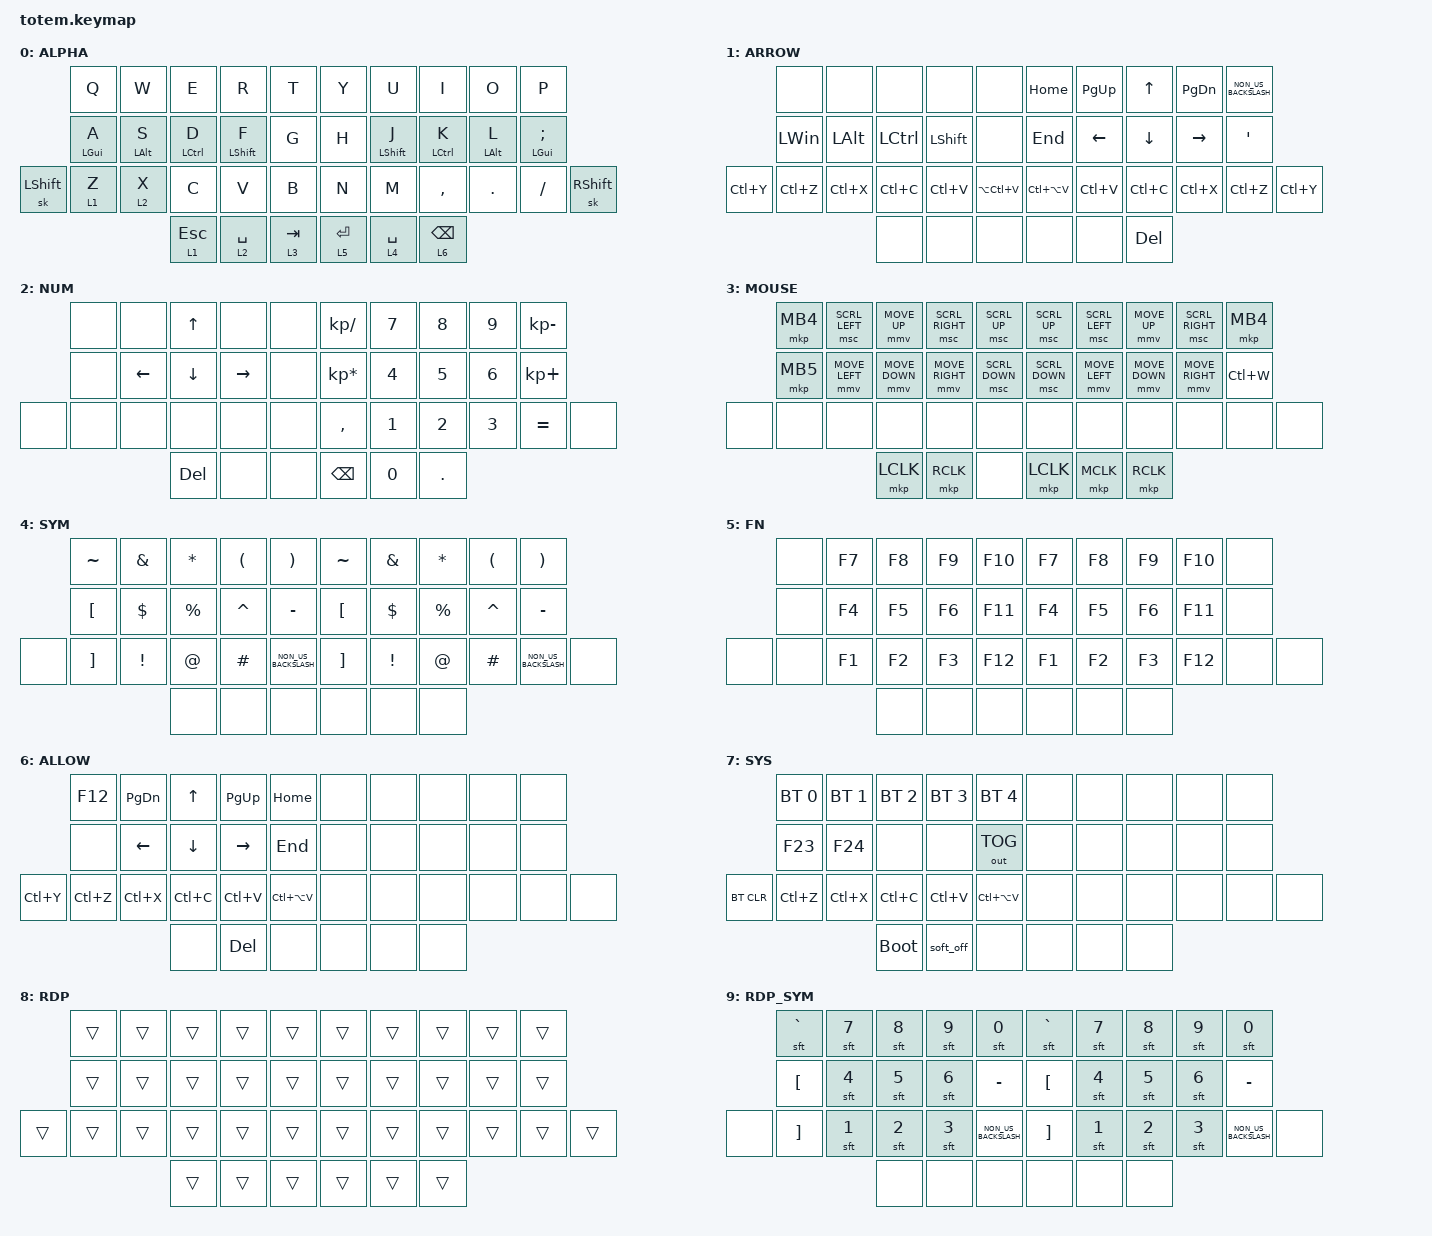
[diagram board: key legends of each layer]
//
//                                                        ▀▀▀▀▀     ▀▀▀▀▀          ▀▀█▀▀
//                                                        ▄▀▀▀▄  ▄  ▄▀▀▀▄  ▄  ▄▀▀▀▄  █  ▄▀▀▀▄
//                                                        █   █  █  █   █  █  █   █  █  █   █
//                                                         ▀▀▀   █   ▀▀▀   █   ▀▀▀   ▀   ▀▀▀
//                                                               █      ▄▄▄█▄▄▄    █   █  
//                                                               ▀      █  █  █     █▄█
//                                                             ▀▀▀▀▀    █  █  █      ▀
//                                                                      ▀  ▀  ▀
//
// ▄▄▄▄▄▄▄▄▄▄▄▄▄▄▄▄▄▄▄▄▄▄▄▄▄▄▄▄▄▄▄▄▄▄▄▄▄▄▄▄▄▄▄▄▄▄▄▄▄▄▄▄▄▄▄▄▄▄▄▄▄▄▄▄▄▄▄▄▄▄▄▄▄▄▄▄▄▄▄▄▄▄▄▄▄▄▄▄▄▄▄▄▄▄▄▄▄▄▄▄▄▄▄▄▄▄▄▄▄▄▄▄▄▄▄▄▄▄▄▄▄▄▄▄▄▄▄▄▄▄▄▄▄▄▄▄▄▄▄▄▄▄▄▄▄▄▄▄▄

#define ZMK_POINTING_DEFAULT_MOVE_VAL 1200  // 600
#define ZMK_POINTING_DEFAULT_SCRL_VAL 25   // 10

#include <input/processors.dtsi>
#include <zephyr/dt-bindings/input/input-event-codes.h>
#include <behaviors.dtsi>
#include <dt-bindings/zmk/bt.h>
#include <dt-bindings/zmk/keys.h>
#include <dt-bindings/zmk/outputs.h>
#include <dt-bindings/zmk/pointing.h>

#define ALPHA 0
#define ARROW 1
#define NUM  2
#define MOUSE  3
#define SYM 4
#define FN 5
#define ALLOW 6
#define SYS 7
#define RDP 8
#define RDP_SYM 9

&mt {
    quick-tap-ms = <100>;
    global-quick-tap;
    flavor = "tap-preferred";
    tapping-term-ms = <170>;
};

&mmv_input_listener { input-processors = <&zip_xy_scaler 2 1>; };

&msc_input_listener { input-processors = <&zip_scroll_scaler 2 1>; };

&msc {
    time-to-max-speed-ms = <100>;       // 300
    delay-ms = <0>;                   // 0
};

&mmv {
    time-to-max-speed-ms = <100>;
    acceleration-exponent = <1>;
    trigger-period-ms = <6>;
    delay-ms = <0>;
};

/ {
    combos {
        compatible = "zmk,combos";

        LSYSLD {
            timeout-ms = <50>;
            key-positions = <34 4>;
            bindings = <&tog 7>;
        };

        BT0 {
            bindings = <&out OUT_TOG>;
            key-positions = <5 35>;
        };

        BT1 {
            bindings = <&bt BT_SEL 0>;
            key-positions = <6 35>;
        };

        BT2 {
            bindings = <&bt BT_SEL 1>;
            key-positions = <7 35>;
        };

        BT3 {
            bindings = <&bt BT_SEL 2>;
            key-positions = <8 35>;
        };

        BT4 {
            bindings = <&bt BT_SEL 3>;
            key-positions = <9 35>;
        };

        HANGUL {
            bindings = <&kp RIGHT_ALT>;
            key-positions = <27 26>;
        };

        HANJA {
            bindings = <&kp RCTRL>;
            key-positions = <28 27>;
        };

        TASKMGR {
            bindings = <&kp LC(LS(ESCAPE))>;
            key-positions = <10 21 0>;
        };

        COMBO_F2 {
            bindings = <&kp F2>;
            key-positions = <0 1>;
        };

        ALFTF4 {
            bindings = <&kp LA(F4)>;
            key-positions = <1 2>;
        };

        COMBO_F5 {
            bindings = <&kp F5>;
            key-positions = <2 3>;
        };

        COMBO_MINUS {
            bindings = <&kp MINUS>;
            key-positions = <5 15>;
        };

        COMBO_UNDERSOCRE {
            bindings = <&kp UNDER>;
            key-positions = <6 16>;
            layers = <ALPHA ARROW NUM MOUSE SYM FN ALLOW SYS>;
        };

        COMBO_EQUAL {
            bindings = <&kp EQUAL>;
            key-positions = <17 7>;
        };

        COMBO_PLUS {
            bindings = <&kp PLUS>;
            key-positions = <18 8>;
            layers = <ALPHA ARROW NUM MOUSE SYM FN ALLOW SYS>;
        };

        COMBO_LPAR {
            bindings = <&kp LEFT_PARENTHESIS>;
            key-positions = <3 13>;
            layers = <ALPHA ARROW NUM MOUSE SYM FN ALLOW SYS>;
        };

        COMBO_RPAR {
            bindings = <&kp RIGHT_PARENTHESIS>;
            key-positions = <4 14>;
            layers = <ALPHA ARROW NUM MOUSE SYM FN ALLOW SYS>;
        };

        COMBO_LBKT {
            bindings = <&kp LEFT_BRACKET>;
            key-positions = <11 1>;
        };

        COMBO_RBKT {
            bindings = <&kp RIGHT_BRACKET>;
            key-positions = <2 12>;
        };

        COMBO_FIND {
            bindings = <&kp LC(F)>;
            key-positions = <12 13 14>;
        };

        COMBO_SAVE {
            bindings = <&kp LC(S)>;
            key-positions = <11 12>;
        };

        COMBO_TABCLOSE {
            bindings = <&kp LC(W)>;
            key-positions = <12 1>;
        };

        COMBO_SCREENSHOT {
            bindings = <&kp LG(LS(S))>;
            key-positions = <10 11 13>;
        };

        COMBO_CAPSLOCK {
            bindings = <&kp CAPSLOCK>;
            key-positions = <28 29>;
        };

        BTCLR {
            bindings = <&bt BT_CLR>;
            key-positions = <19 35>;
        };

        FLUENT {
            bindings = <&kp LC(LA(LS(SPACE)))>;
            key-positions = <11 12 13 33>;
        };

        FS_SC_1 {
            bindings = <&kp LC(LA(LS(B)))>;
            key-positions = <25 24>;
        };

        WINMINIMIZE {
            bindings = <&WINMINIMIZE>;
            key-positions = <22 23>;
        };

        FS_SC_2 {
            bindings = <&kp LC(LA(LS(B)))>;
            key-positions = <5 6>;
        };

        FS_WIN_1 {
            bindings = <&kp LC(LA(LS(T)))>;
            key-positions = <23 24>;
        };

        FS_WIN_2 {
            bindings = <&kp LC(LA(LS(T)))>;
            key-positions = <6 7>;
        };

        // ---- RDP 모드 (Tab 엄지 + R 로 토글) ----
        RDP_TOGGLE {
            timeout-ms = <50>;
            key-positions = <34 3>;
            bindings = <&tog RDP>;
        };

        RDP_UNDERSCORE {
            bindings = <&sft MINUS>;
            key-positions = <6 16>;
            layers = <RDP RDP_SYM>;
        };

        RDP_PLUS {
            bindings = <&sft EQUAL>;
            key-positions = <18 8>;
            layers = <RDP RDP_SYM>;
        };

        RDP_LPAR {
            bindings = <&sft N9>;
            key-positions = <3 13>;
            layers = <RDP RDP_SYM>;
        };

        RDP_RPAR {
            bindings = <&sft N0>;
            key-positions = <4 14>;
            layers = <RDP RDP_SYM>;
        };
    };

    HOME_ROW_R: HOME_ROW_R {
        compatible = "zmk,behavior-hold-tap";
        label = "HOME_ROW_R";
        bindings = <&kp>, <&kp>;

        #binding-cells = <2>;
        flavor = "tap-preferred";
        tapping-term-ms = <185>;
    };

    CTRL_CAPS: CTRL_CAPS {
        compatible = "zmk,behavior-tap-dance";
        label = "CTRL_CAPS";
        #binding-cells = <0>;
        bindings = <&kp LCTRL>, <&kp CAPSLOCK>;

        tapping-term-ms = <250>;
    };

    TIMELESS_HMR_L: TIMELESS_HMR_L {
        compatible = "zmk,behavior-hold-tap";
        label = "TIMELESS_HMR_L";
        bindings = <&kp>, <&kp>;

        #binding-cells = <2>;
        tapping-term-ms = <280>;
        quick-tap-ms = <175>;
        require-prior-idle-ms = <125>;
        flavor = "balanced";
        hold-trigger-on-release;
    };

    TIMELESS_HMR_R: TIMELESS_HMR_R {
        compatible = "zmk,behavior-hold-tap";
        label = "TIMELESS_HMR_R";
        bindings = <&kp>, <&kp>;

        #binding-cells = <2>;
        tapping-term-ms = <280>;
        quick-tap-ms = <175>;
        require-prior-idle-ms = <125>;
        flavor = "balanced";
        hold-trigger-on-release;
    };

    HMR_LSHIFT: HMR_LSHIFT {
        compatible = "zmk,behavior-hold-tap";
        label = "HMR_LSHIFT";
        bindings = <&kp>, <&kp>;

        #binding-cells = <2>;
        tapping-term-ms = <170>;
        quick-tap-ms = <0>;
        require-prior-idle-ms = <(-1)>;
        flavor = "balanced";
    };

    HMR_RSHIFT: HMR_RSHIFT {
        compatible = "zmk,behavior-hold-tap";
        label = "HMR_RSHIFT";
        bindings = <&kp>, <&kp>;

        #binding-cells = <2>;
        tapping-term-ms = <170>;
        quick-tap-ms = <0>;
        require-prior-idle-ms = <(-1)>;
        flavor = "balanced";
    };

    HOME_ROW_L: HOME_ROW_L {
        compatible = "zmk,behavior-hold-tap";
        label = "HOME_ROW_L";
        bindings = <&kp>, <&kp>;

        #binding-cells = <2>;
        flavor = "tap-preferred";
        tapping-term-ms = <185>;
    };

    QLT: QLT {
        compatible = "zmk,behavior-hold-tap";
        label = "QLT";
        bindings = <&mo>, <&kp>;

        #binding-cells = <2>;
        tapping-term-ms = <220>;
        quick-tap-ms = <200>;
        flavor = "balanced";
        retro-tap;
        require-prior-idle-ms = <125>;
    };

    MLT: MLT {
        compatible = "zmk,behavior-hold-tap";
        label = "MLT";
        bindings = <&mo>, <&kp>;

        #binding-cells = <2>;
        tapping-term-ms = <185>;
        hold-while-undecided;
    };

    macros {
        // RDP용: Shift 누름 -> 15ms -> 키 -> 15ms -> Shift 뗌 (RDP 모드 레이어에서만 사용)
        sft: shifted_key {
            compatible = "zmk,behavior-macro-one-param";
            #binding-cells = <1>;
            wait-ms = <15>;
            tap-ms = <15>;
            bindings
                = <&macro_press &kp LSHFT>
                , <&macro_param_1to1>
                , <&macro_tap &kp MACRO_PLACEHOLDER>
                , <&macro_release &kp LSHFT>
                ;
        };

        WINMINIMIZE: winminimize {
            compatible = "zmk,behavior-macro";
            #binding-cells = <0>;
            bindings = <&kp LA(SPACE) &kp N>;
            label = "WINMINIMIZE";
        };
    };

    behaviors {
    };

    conditional_layers {
        compatible = "zmk,conditional-layers";

        // RDP 모드(8) + SYM(4) 동시 활성 -> RDP_SYM(9)
        rdp_sym {
            if-layers = <SYM RDP>;
            then-layer = <RDP_SYM>;
        };
    };

    keymap {
        compatible = "zmk,keymap";

        ALPHA_layer {
            label = "ALPHA";
            bindings = <
           &kp Q                   &kp W                   &kp E                &kp R                     &kp T        &kp Y         &kp U                     &kp I                &kp O                   &kp P
           &HOME_ROW_L LEFT_GUI A  &HOME_ROW_L LEFT_ALT S  &HOME_ROW_L LCTRL D  &HOME_ROW_L LEFT_SHIFT F  &kp G        &kp H         &HOME_ROW_R LEFT_SHIFT J  &HOME_ROW_R LCTRL K  &HOME_ROW_R LEFT_ALT L  &HOME_ROW_R LEFT_GUI SEMI
&sk LSHFT  &QLT 1 Z                &QLT 2 X                &kp C                &kp V                     &kp B        &kp N         &kp M                     &kp COMMA            &kp DOT                 &kp FSLH                   &sk RSHIFT
                                                           &lt 1 ESCAPE         &lt 2 SPACE               &lt 3 TAB    &QLT 5 ENTER  &QLT 4 SPACE              &QLT 6 BACKSPACE
            >;
        };

        ARROW_layer {
            label = "ARROW";
            bindings = <
           &none         &none         &none      &none           &none            &kp HOME       &kp PAGE_UP  &kp UP      &kp PAGE_DOWN  &kp NON_US_BACKSLASH
           &kp LEFT_WIN  &kp LEFT_ALT  &kp LCTRL  &kp LEFT_SHIFT  &none            &kp END        &kp LEFT     &kp DOWN    &kp RIGHT      &kp APOSTROPHE
&kp LC(Y)  &kp LC(Z)     &kp LC(X)     &kp LC(C)  &kp LC(V)       &kp LA(LC(V))    &kp LC(LA(V))  &kp LC(V)    &kp LC(C)   &kp LC(X)      &kp LC(Z)             &kp LC(Y)
                                       &none      &none           &none            &none          &none        &kp DELETE
            >;
        };

        NUM_layer {
            label = "NUM";
            bindings = <
       &none  &none     &kp UP      &none      &none    &kp KP_DIVIDE    &kp N7        &kp N8        &kp N9        &kp KP_MINUS
       &none  &kp LEFT  &kp DOWN    &kp RIGHT  &none    &kp KP_ASTERISK  &kp NUMBER_4  &kp N5        &kp NUMBER_6  &kp KP_PLUS
&none  &none  &none     &none       &none      &none    &kp COMMA        &kp NUMBER_1  &kp NUMBER_2  &kp NUMBER_3  &kp EQUAL     &none
                        &kp DELETE  &none      &none    &kp BACKSPACE    &kp N0        &kp DOT
            >;
        };

        MOUSE_layer {
            label = "MOUSE";
            bindings = <
       &mkp MB4  &msc SCRL_LEFT  &mmv MOVE_UP    &msc SCRL_RIGHT  &msc SCRL_UP      &msc SCRL_UP    &msc SCRL_LEFT  &mmv MOVE_UP    &msc SCRL_RIGHT  &mkp MB4
       &mkp MB5  &mmv MOVE_LEFT  &mmv MOVE_DOWN  &mmv MOVE_RIGHT  &msc SCRL_DOWN    &msc SCRL_DOWN  &mmv MOVE_LEFT  &mmv MOVE_DOWN  &mmv MOVE_RIGHT  &kp LC(W)
&none  &none     &none           &none           &none            &none             &none           &none           &none           &none            &none      &none
                                 &mkp LCLK       &mkp RCLK        &none             &mkp LCLK       &mkp MCLK       &mkp RCLK
            >;
        };

        SYM_layer {
            label = "SYM";
            bindings = <
       &kp TILDE          &kp AMPERSAND    &kp ASTERISK  &kp LEFT_PARENTHESIS  &kp RIGHT_PARENTHESIS    &kp TILDE          &kp AMPERSAND    &kp ASTERISK  &kp LEFT_PARENTHESIS  &kp RIGHT_PARENTHESIS
       &kp LEFT_BRACKET   &kp DOLLAR       &kp PERCENT   &kp CARET             &kp MINUS                &kp LEFT_BRACKET   &kp DOLLAR       &kp PERCENT   &kp CARET             &kp MINUS
&none  &kp RIGHT_BRACKET  &kp EXCLAMATION  &kp AT_SIGN   &kp HASH              &kp NON_US_BACKSLASH     &kp RIGHT_BRACKET  &kp EXCLAMATION  &kp AT_SIGN   &kp HASH              &kp NON_US_BACKSLASH   &none
                                           &none         &none                 &none                    &none              &none            &none
            >;
        };

        FN_layer {
            label = "FN";
            bindings = <
       &none  &kp F7  &kp F8  &kp F9  &kp F10    &kp F7  &kp F8  &kp F9  &kp F10  &none
       &none  &kp F4  &kp F5  &kp F6  &kp F11    &kp F4  &kp F5  &kp F6  &kp F11  &none
&none  &none  &kp F1  &kp F2  &kp F3  &kp F12    &kp F1  &kp F2  &kp F3  &kp F12  &none  &none
                      &none   &none   &none      &none   &none   &none
            >;
        };

        ALLOW_layer {
            label = "ALLOW";
            bindings = <
           &kp F12    &kp PAGE_DOWN  &kp UP_ARROW  &kp PAGE_UP  &kp HOME         &none  &none  &none  &none  &none
           &none      &kp LEFT       &kp DOWN      &kp RIGHT    &kp END          &none  &none  &none  &none  &none
&kp LC(Y)  &kp LC(Z)  &kp LC(X)      &kp LC(C)     &kp LC(V)    &kp LC(LA(V))    &none  &none  &none  &none  &none  &none
                                     &none         &kp DELETE   &none            &none  &none  &none
            >;
        };

        SYS_layer {
            label = "SYS";
            bindings = <
            &bt BT_SEL 0  &bt BT_SEL 1  &bt BT_SEL 2  &bt BT_SEL 3  &bt BT_SEL 4     &none  &none  &none  &none  &none
            &kp F23       &kp F24       &none         &none         &out OUT_TOG     &none  &none  &none  &none  &none
&bt BT_CLR  &kp LC(Z)     &kp LC(X)     &kp LC(C)     &kp LC(V)     &kp LC(LA(V))    &none  &none  &none  &none  &none  &none
                                        &bootloader   &soft_off     &none            &none  &none  &none
            >;
        };

        // RDP 모드 표시용 레이어: 전부 투명(아래 레이어가 그대로 보임).
        // 이 레이어가 켜진 상태에서 SYM(4)에 들어가면 아래 conditional_layers가 RDP_SYM(9)을 자동으로 켬
        RDP_layer {
            label = "RDP";
            bindings = <
           &trans  &trans  &trans  &trans  &trans    &trans  &trans  &trans  &trans  &trans
           &trans  &trans  &trans  &trans  &trans    &trans  &trans  &trans  &trans  &trans
&trans     &trans  &trans  &trans  &trans  &trans    &trans  &trans  &trans  &trans  &trans  &trans
                           &trans  &trans  &trans    &trans  &trans  &trans
            >;
        };

        // RDP_SYM: SYM과 같은 배치. &sft 뒤는 Shift 없는 기본 키
        //   GRAVE=~  N7=&  N8=*  N9=(  N0=)  N4=$  N5=%  N6=^  N1=!  N2=@  N3=#
        RDP_SYM_layer {
            label = "RDP_SYM";
            bindings = <
       &sft GRAVE         &sft N7    &sft N8  &sft N9  &sft N0    &sft GRAVE         &sft N7    &sft N8  &sft N9  &sft N0
       &kp LEFT_BRACKET   &sft N4       &sft N5   &sft N6             &kp MINUS                 &kp LEFT_BRACKET   &sft N4       &sft N5   &sft N6             &kp MINUS
&none  &kp RIGHT_BRACKET  &sft N1  &sft N2   &sft N3              &kp NON_US_BACKSLASH      &kp RIGHT_BRACKET  &sft N1  &sft N2   &sft N3              &kp NON_US_BACKSLASH   &none
                                            &none          &none                  &none                     &none              &none             &none
            >;
        };
    };
};
